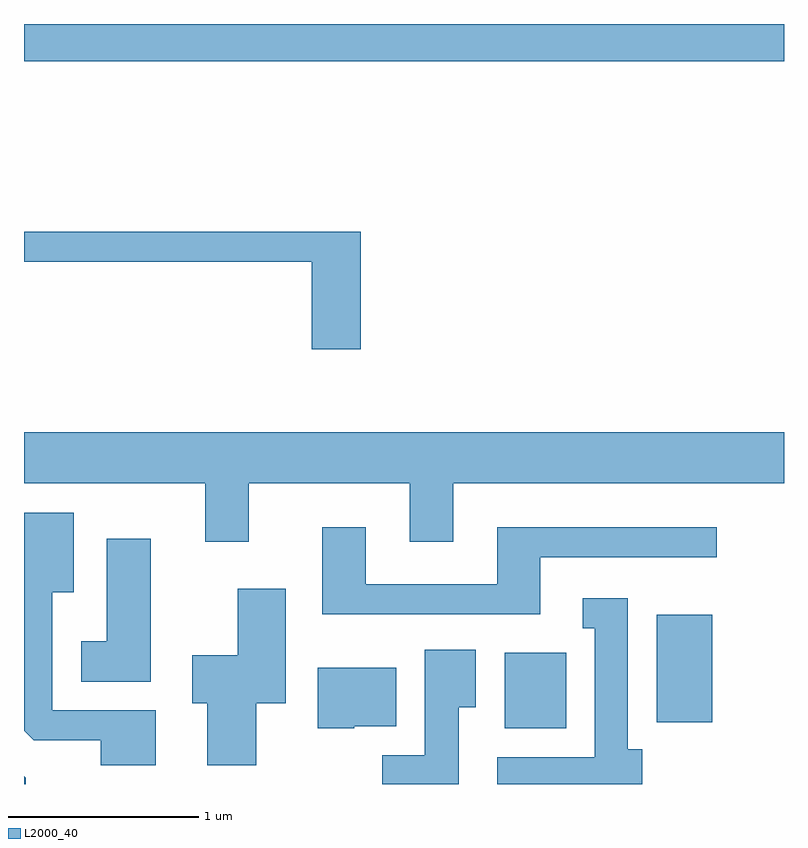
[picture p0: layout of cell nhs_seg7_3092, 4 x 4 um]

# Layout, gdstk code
import gdstk
lib = gdstk.Library(unit=1e-6, precision=1e-09)
def R(c, l, rs):  # rectangles x0, y0, x1, y1
    for r in rs: c.add(gdstk.rectangle(r[:2], r[2:], *l))
def P(c, l, *ps):  # polygons
    for p in ps: c.add(gdstk.Polygon(p, *l))
L2000_40 = (2000, 40)

nhs_seg7_3092 = lib.new_cell('nhs_seg7_3092')
R(nhs_seg7_3092, L2000_40, [(282.141,1748.546,282.464,1748.944), (282.941,1748.576,283.234,1749.144), (279.611,1752.056,283.611,1752.252)])
P(nhs_seg7_3092, L2000_40, [(281.384,1751.159),(279.611,1751.159),(279.611,1751.001),(281.126,1751.001),(281.126,1750.541),(281.384,1750.541)],
  [(280.794,1749.836),(281.641,1749.836),(281.641,1749.526),(281.869,1749.526),(281.869,1749.836),(283.611,1749.836),(283.611,1750.104),(279.611,1750.104),(279.611,1749.836),(280.566,1749.836),(280.566,1749.526),(280.794,1749.526)],
  [(280.304,1748.639),(279.759,1748.639),(279.759,1749.261),(279.874,1749.261),(279.874,1749.679),(279.611,1749.679),(279.611,1748.532),(279.662,1748.481),(280.016,1748.481),(280.016,1748.351),(280.304,1748.351)],
  [(282.329,1749.446),(283.258,1749.446),(283.258,1749.604),(282.101,1749.604),(282.101,1749.304),(281.409,1749.304),(281.409,1749.604),(281.181,1749.604),(281.181,1749.146),(282.329,1749.146)],
  [(280.279,1749.544),(280.046,1749.544),(280.046,1749.004),(279.911,1749.004),(279.911,1748.791),(280.279,1748.791)],
  [(280.834,1748.676),(280.989,1748.676),(280.989,1749.279),(280.736,1749.279),(280.736,1748.929),(280.496,1748.929),(280.496,1748.676),(280.576,1748.676),(280.576,1748.351),(280.834,1748.351)],
  [(282.864,1748.434),(282.789,1748.434),(282.789,1749.229),(282.553,1749.229),(282.553,1749.071),(282.616,1749.071),(282.616,1748.394),(282.101,1748.394),(282.101,1748.252),(282.864,1748.252)],
  [(281.899,1748.656),(281.989,1748.656),(281.989,1748.959),(281.721,1748.959),(281.721,1748.404),(281.496,1748.404),(281.496,1748.252),(281.899,1748.252)],
  [(281.35,1748.556),(281.569,1748.556),(281.569,1748.864),(281.156,1748.864),(281.156,1748.546),(281.35,1748.546)],
  [(279.619,1748.284),(279.611,1748.292),(279.611,1748.252),(279.619,1748.252)])

lib.write_gds('nhs_seg7_3092.gds')
